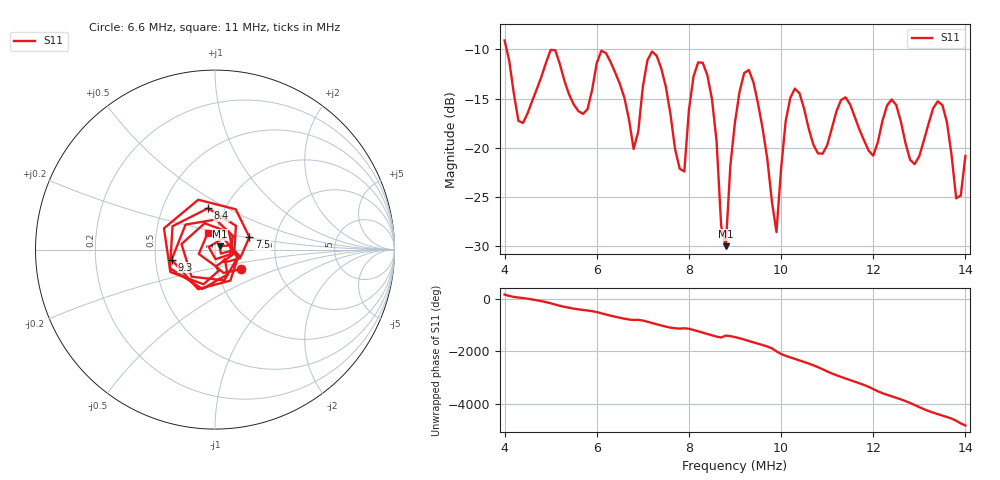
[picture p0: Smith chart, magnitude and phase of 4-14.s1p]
# HZ S RI R 50
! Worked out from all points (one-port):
!   101 points, 4 MHz to 14 MHz, reference 50 ohm
!   lowest |S11| = -30.0 dB at 8.8 MHz (marker M1), VSWR 1.07, Z = 52.6 + j2.01 ohm
!   |S11| at or under -10 dB: 4.044 MHz to end of sweep
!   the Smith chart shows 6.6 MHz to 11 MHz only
!   S11 on the Smith chart (normalised r, x): 6.6 MHz: 1.29, -0.29; 7.5 MHz: 1.46, +0.21; 8.4 MHz: 0.84, +0.41; 9.3 MHz: 0.61, -0.07; 11 MHz: 0.91, +0.17
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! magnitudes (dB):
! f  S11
! 4 MHz  -9.1
! 4.3 MHz  -17.3
! 5 MHz  -10.1
! 5.3 MHz  -13.2
! 6.1 MHz  -10.2
! 6.5 MHz  -13.5
! 6.6 MHz  -14.9
! 6.8 MHz  -20.1
! 7.1 MHz  -11.1
! 7.5 MHz  -13.8
! 7.8 MHz  -22.1
! 7.9 MHz  -22.4
! 8.1 MHz  -12.8
! 8.4 MHz  -12.6
! 8.8 MHz  -30.0
! 9 MHz  -17.4
! 9.3 MHz  -12.1
! 9.9 MHz  -28.5
! 10.1 MHz  -17.3
! 10.3 MHz  -14.0
! 11 MHz  -19.8
! 11.5 MHz  -15.6
! 12 MHz  -20.8
! 12.4 MHz  -15.1
! 12.8 MHz  -21.2
! 13.4 MHz  -15.3
! 13.8 MHz  -25.1
! 14 MHz  -20.8
